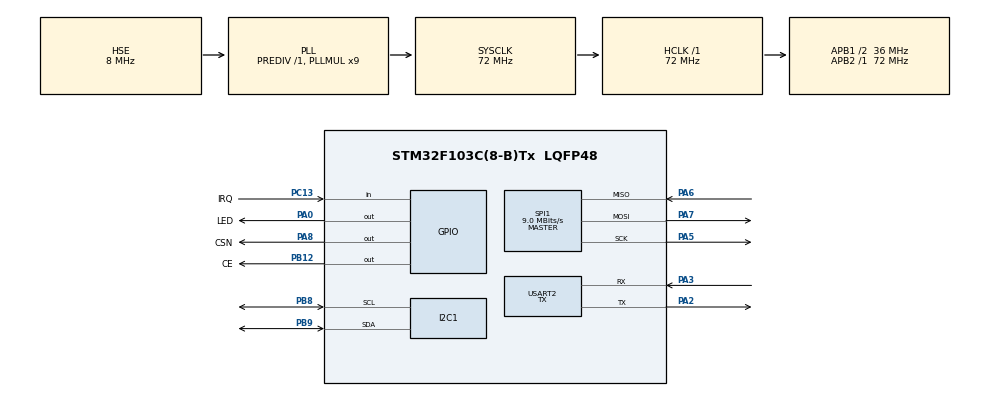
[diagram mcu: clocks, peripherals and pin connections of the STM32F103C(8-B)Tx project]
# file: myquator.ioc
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Dma.I2C1_RX.1.Direction=DMA_PERIPH_TO_MEMORY
Dma.I2C1_RX.1.Instance=DMA1_Channel7
Dma.I2C1_RX.1.MemDataAlignment=DMA_MDATAALIGN_BYTE
Dma.I2C1_RX.1.MemInc=DMA_MINC_ENABLE
Dma.I2C1_RX.1.Mode=DMA_NORMAL
Dma.I2C1_RX.1.PeriphDataAlignment=DMA_PDATAALIGN_BYTE
Dma.I2C1_RX.1.PeriphInc=DMA_PINC_DISABLE
Dma.I2C1_RX.1.Priority=DMA_PRIORITY_LOW
Dma.I2C1_TX.0.Direction=DMA_MEMORY_TO_PERIPH
Dma.I2C1_TX.0.Instance=DMA1_Channel6
Dma.I2C1_TX.0.MemDataAlignment=DMA_MDATAALIGN_BYTE
Dma.I2C1_TX.0.MemInc=DMA_MINC_ENABLE
Dma.I2C1_TX.0.Mode=DMA_NORMAL
Dma.I2C1_TX.0.PeriphDataAlignment=DMA_PDATAALIGN_BYTE
Dma.I2C1_TX.0.PeriphInc=DMA_PINC_DISABLE
Dma.I2C1_TX.0.Priority=DMA_PRIORITY_LOW
Dma.Request0=I2C1_TX
Dma.Request1=I2C1_RX
Dma.Request2=SPI1_RX
Dma.Request3=SPI1_TX
Dma.SPI1_RX.2.Direction=DMA_PERIPH_TO_MEMORY
Dma.SPI1_RX.2.Instance=DMA1_Channel2
Dma.SPI1_RX.2.MemDataAlignment=DMA_MDATAALIGN_BYTE
Dma.SPI1_RX.2.MemInc=DMA_MINC_ENABLE
Dma.SPI1_RX.2.Mode=DMA_NORMAL
Dma.SPI1_RX.2.PeriphDataAlignment=DMA_PDATAALIGN_BYTE
Dma.SPI1_RX.2.PeriphInc=DMA_PINC_DISABLE
Dma.SPI1_RX.2.Priority=DMA_PRIORITY_LOW
Dma.SPI1_TX.3.Direction=DMA_MEMORY_TO_PERIPH
Dma.SPI1_TX.3.Instance=DMA1_Channel3
Dma.SPI1_TX.3.MemDataAlignment=DMA_MDATAALIGN_BYTE
Dma.SPI1_TX.3.MemInc=DMA_MINC_ENABLE
Dma.SPI1_TX.3.Mode=DMA_NORMAL
Dma.SPI1_TX.3.PeriphDataAlignment=DMA_PDATAALIGN_BYTE
Dma.SPI1_TX.3.PeriphInc=DMA_PINC_DISABLE
Dma.SPI1_TX.3.Priority=DMA_PRIORITY_LOW
FREERTOS.Tasks01=defaultTask,0,128,StartDefaultTask,Default,NULL,Dynamic,NULL,NULL
Mcu.Family=STM32F1
Mcu.Name=STM32F103C(8-B)Tx
Mcu.Package=LQFP48
NVIC.DMA1_Channel2_IRQn=true\:5\:0\:false\:false\:true\:true\:false\:true\:true
NVIC.DMA1_Channel3_IRQn=true\:5\:0\:false\:false\:true\:true\:false\:true\:true
NVIC.DMA1_Channel6_IRQn=true\:5\:0\:false\:false\:true\:true\:false\:true\:true
NVIC.DMA1_Channel7_IRQn=true\:5\:0\:false\:false\:true\:true\:false\:true\:true
NVIC.I2C1_ER_IRQn=true\:5\:0\:false\:false\:true\:true\:true\:true\:true
NVIC.I2C1_EV_IRQn=true\:5\:0\:false\:false\:true\:true\:true\:true\:true
NVIC.PriorityGroup=NVIC_PRIORITYGROUP_4
PA0-WKUP.GPIO_Label=LED
PA0-WKUP.GPIO_Speed=GPIO_SPEED_FREQ_LOW
PA0-WKUP.Signal=GPIO_Output
PA1.GPIO_Label=M4
PA1.Signal=S_TIM2_CH2
PA13.Mode=Serial_Wire
PA13.Signal=SYS_JTMS-SWDIO
PA14.Mode=Serial_Wire
PA14.Signal=SYS_JTCK-SWCLK
PA2.Mode=Asynchronous
PA2.Signal=USART2_TX
PA3.Mode=Asynchronous
PA3.Signal=USART2_RX
PA5.Mode=Full_Duplex_Master
PA5.Signal=SPI1_SCK
PA6.Mode=Full_Duplex_Master
PA6.Signal=SPI1_MISO
PA7.Mode=Full_Duplex_Master
PA7.Signal=SPI1_MOSI
PA8.GPIO_Label=CSN
PA8.GPIO_Speed=GPIO_SPEED_FREQ_HIGH
PA8.Signal=GPIO_Output
PB10.GPIO_Label=M3
PB10.Signal=S_TIM2_CH3
PB12.GPIO_Label=CE
PB12.GPIO_Speed=GPIO_SPEED_FREQ_HIGH
PB12.Signal=GPIO_Output
PB6.GPIO_Label=M2
PB6.Signal=S_TIM4_CH1
PB7.GPIO_Label=M1
PB7.Signal=S_TIM4_CH2
PB8.Mode=I2C
PB8.Signal=I2C1_SCL
PB9.Mode=I2C
PB9.Signal=I2C1_SDA
PC13-TAMPER-RTC.GPIO_Label=IRQ
PC13-TAMPER-RTC.Signal=GPIO_Input
PD0-OSC_IN.Mode=HSE-External-Oscillator
PD0-OSC_IN.Signal=RCC_OSC_IN
PD1-OSC_OUT.Mode=HSE-External-Oscillator
PD1-OSC_OUT.Signal=RCC_OSC_OUT
ProjectManager.HeapSize=0x200
ProjectManager.StackSize=0x400
ProjectManager.TargetToolchain=STM32CubeIDE
RCC.AHBFreq_Value=72000000
RCC.APB1CLKDivider=RCC_HCLK_DIV2
RCC.APB1Freq_Value=36000000
RCC.APB1TimFreq_Value=72000000
RCC.APB2Freq_Value=72000000
RCC.APB2TimFreq_Value=72000000
RCC.HCLKFreq_Value=72000000
RCC.PLLMUL=RCC_PLL_MUL9
RCC.PLLSourceVirtual=RCC_PLLSOURCE_HSE
RCC.SYSCLKFreq_VALUE=72000000
RCC.SYSCLKSource=RCC_SYSCLKSOURCE_PLLCLK
RCC.USBFreq_Value=72000000
SH.S_TIM2_CH2.0=TIM2_CH2
SH.S_TIM2_CH3.0=TIM2_CH3
SH.S_TIM4_CH1.0=TIM4_CH1
SH.S_TIM4_CH2.0=TIM4_CH2
SPI1.BaudRatePrescaler=SPI_BAUDRATEPRESCALER_8
SPI1.CRCCalculation=SPI_CRCCALCULATION_DISABLE
SPI1.CalculateBaudRate=9.0 MBits/s
SPI1.Direction=SPI_DIRECTION_2LINES
SPI1.Mode=SPI_MODE_MASTER
SPI1.VirtualType=VM_MASTER
USART2.Mode=MODE_TX
USART2.VirtualMode=VM_ASYNC
VP_FREERTOS_VS_CMSIS_V1.Mode=CMSIS_V1
board=custom

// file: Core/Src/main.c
/* USER CODE BEGIN Header */
/**
  ******************************************************************************
  * @file           : main.c
  * @brief          : Main program body
  ******************************************************************************
  * @attention
  *
  * Copyright (c) 2025 STMicroelectronics.
  * All rights reserved.
  *
  * This software is licensed under terms that can be found in the LICENSE file
  * in the root directory of this software component.
  * If no LICENSE file comes with this software, it is provided AS-IS.
  *
  ******************************************************************************
  */
/* USER CODE END Header */
#include "main.h"
#include "cmsis_os.h"
#include "dma.h"
#include "i2c.h"
#include "spi.h"
#include "usart.h"
#include "gpio.h"
#include "NRF2401.h"

#include "qmi8658.h"
#include "qmc5883.h"
#include "spl06.h"

/* USER CODE BEGIN Includes */
#include "../../HARDWARE/NRF2401/NRF2401.h"
/* USER CODE END Includes */

void SystemClock_Config(void);
void MX_FREERTOS_Init(void);

/* USER CODE BEGIN 0 */
#include "stdio.h"

void Show_Log()
{
    printf("\t\033[1;31;40m     ______  _____  __        ___    ____  \033[0m\r\n");
    printf("\t\033[1;31;40m    /  _/  |/  / / / /  _   _|__ \\  / __ \ \033[0m\r\n");
    printf("\t\033[1;31;40m    / // /|_/ / / / /  | | / /_/ / / / / / \033[0m\r\n");
    printf("\t\033[1;31;40m  _/ // /  / / /_/ /   | |/ / __/_/ /_/ /  \033[0m\r\n");
    printf("\t\033[1;31;40m /___/_/  /_/\____ /    |___/____(_)____/   \033[0m\r\n");
}

/* USER CODE END 0 */

int main(void)
{

  /* MCU Configuration--------------------------------------------------------*/

  /* Reset of all peripherals, Initializes the Flash interface and the Systick. */
  HAL_Init();

  /* Configure the system clock */
  SystemClock_Config();

  /* Initialize all configured peripherals */
  MX_GPIO_Init();
  MX_DMA_Init();
  MX_I2C1_Init();
  MX_SPI1_Init();
  MX_USART2_UART_Init();
  /* USER CODE BEGIN 2 */
  Show_Log();
  //Driver_Init();
  NRF24L01_Init();

  while(NRF24L01_Check())
  {
	  HAL_Delay(200);
  }

  //QMC5883_Init();
  //SPL06_Init();
  //QMI8658_Init();
  /* USER CODE END 2 */

  /* Call init function for freertos objects (in cmsis_os2.c) */
  MX_FREERTOS_Init();

  /* Start scheduler */
  osKernelStart();

  /* We should never get here as control is now taken by the scheduler */

  /* Infinite loop */
  while (1)
  {

    /* USER CODE BEGIN 3 */
	  HAL_Delay(800);
	  printf("hello world!\r\n");
  }
  /* USER CODE END 3 */
}

void SystemClock_Config(void)
{
  RCC_OscInitTypeDef RCC_OscInitStruct = {0};
  RCC_ClkInitTypeDef RCC_ClkInitStruct = {0};

  /** Initializes the RCC Oscillators according to the specified parameters
  * in the RCC_OscInitTypeDef structure.
  */
  RCC_OscInitStruct.OscillatorType = RCC_OSCILLATORTYPE_HSE;
  RCC_OscInitStruct.HSEState = RCC_HSE_ON;
  RCC_OscInitStruct.HSEPredivValue = RCC_HSE_PREDIV_DIV1;
  RCC_OscInitStruct.HSIState = RCC_HSI_ON;
  RCC_OscInitStruct.PLL.PLLState = RCC_PLL_ON;
  RCC_OscInitStruct.PLL.PLLSource = RCC_PLLSOURCE_HSE;
  RCC_OscInitStruct.PLL.PLLMUL = RCC_PLL_MUL9;
  if (HAL_RCC_OscConfig(&RCC_OscInitStruct) != HAL_OK)
  {
    Error_Handler();
  }

  /** Initializes the CPU, AHB and APB buses clocks
  */
  RCC_ClkInitStruct.ClockType = RCC_CLOCKTYPE_HCLK|RCC_CLOCKTYPE_SYSCLK
                              |RCC_CLOCKTYPE_PCLK1|RCC_CLOCKTYPE_PCLK2;
  RCC_ClkInitStruct.SYSCLKSource = RCC_SYSCLKSOURCE_PLLCLK;
  RCC_ClkInitStruct.AHBCLKDivider = RCC_SYSCLK_DIV1;
  RCC_ClkInitStruct.APB1CLKDivider = RCC_HCLK_DIV2;
  RCC_ClkInitStruct.APB2CLKDivider = RCC_HCLK_DIV1;

  if (HAL_RCC_ClockConfig(&RCC_ClkInitStruct, FLASH_LATENCY_2) != HAL_OK)
  {
    Error_Handler();
  }
}

void Error_Handler(void)
{
  __disable_irq();
  while (1)
  {
  }
}

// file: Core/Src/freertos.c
/* USER CODE BEGIN Header */
/**
  ******************************************************************************
  * File Name          : freertos.c
  * Description        : Code for freertos applications
  ******************************************************************************
  * @attention
  *
  * Copyright (c) 2025 STMicroelectronics.
  * All rights reserved.
  *
  * This software is licensed under terms that can be found in the LICENSE file
  * in the root directory of this software component.
  * If no LICENSE file comes with this software, it is provided AS-IS.
  *
  ******************************************************************************
  */
/* USER CODE END Header */

#include "FreeRTOS.h"
#include "task.h"
#include "main.h"
#include "cmsis_os.h"
#include "sensor.h"

osThreadId defaultTaskHandle;

void StartDefaultTask(void const * argument);

void MX_FREERTOS_Init(void); /* (MISRA C 2004 rule 8.1) */

/* GetIdleTaskMemory prototype (linked to static allocation support) */
void vApplicationGetIdleTaskMemory( StaticTask_t **ppxIdleTaskTCBBuffer, StackType_t **ppxIdleTaskStackBuffer, uint32_t *pulIdleTaskStackSize );

/* USER CODE BEGIN GET_IDLE_TASK_MEMORY */
static StaticTask_t xIdleTaskTCBBuffer;
static StackType_t xIdleStack[configMINIMAL_STACK_SIZE];

void vApplicationGetIdleTaskMemory( StaticTask_t **ppxIdleTaskTCBBuffer, StackType_t **ppxIdleTaskStackBuffer, uint32_t *pulIdleTaskStackSize )
{
  *ppxIdleTaskTCBBuffer = &xIdleTaskTCBBuffer;
  *ppxIdleTaskStackBuffer = &xIdleStack[0];
  *pulIdleTaskStackSize = configMINIMAL_STACK_SIZE;
  /* place for user code */
}
/* USER CODE END GET_IDLE_TASK_MEMORY */

void MX_FREERTOS_Init(void) {

  /* Create the thread(s) */
  /* definition and creation of defaultTask */
  osThreadDef(defaultTask, StartDefaultTask, osPriorityNormal, 0, 128);
  defaultTaskHandle = osThreadCreate(osThread(defaultTask), NULL);

}

void StartDefaultTask(void const * argument)
{
  /* USER CODE BEGIN StartDefaultTask */
  /* Infinite loop */
	//int p=-90,r=-90,y=-90;
    //1. init sensors..
    sensorsTask();

	  for(;;)
	  {
		osDelay(1000);
		HAL_GPIO_WritePin(GPIOA, LED_Pin, GPIO_PIN_SET);
		osDelay(10);
		HAL_GPIO_WritePin(GPIOA, LED_Pin, GPIO_PIN_RESET);
		//p++;r++;y++;
		//if(p>90)p=-90;
		//if(r>90)r=-90;
		//if(y>90)y=-90;
		//printf("pitch:%d,roll:%d,yall:%d\r\n",p,r,y);
	  }
	  /* USER CODE END StartDefaultTask */
}
